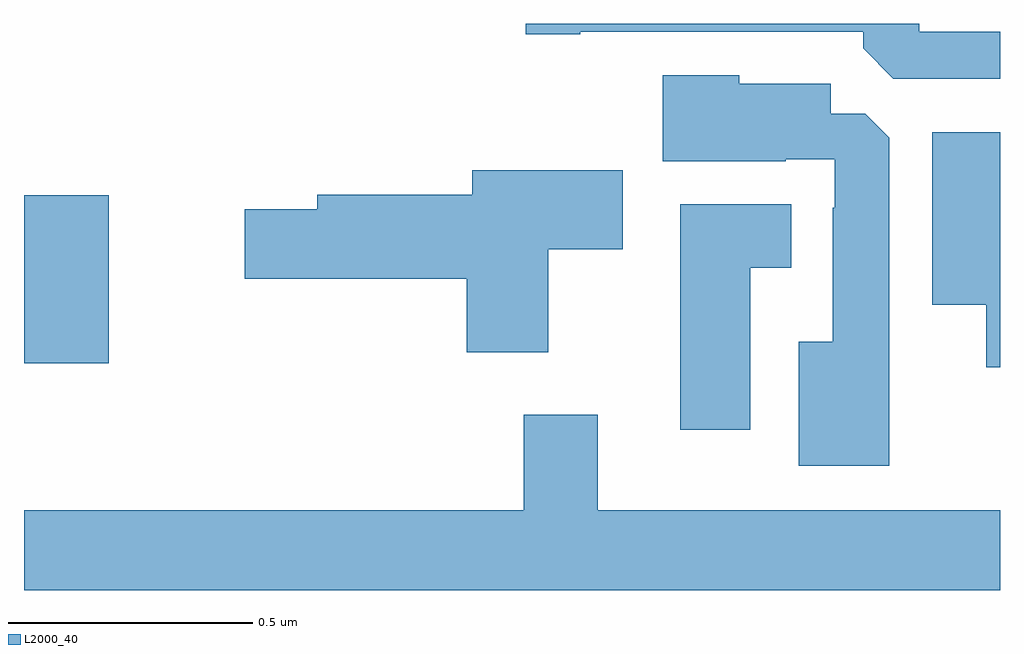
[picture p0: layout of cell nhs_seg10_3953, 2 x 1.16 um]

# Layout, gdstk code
import gdstk
lib = gdstk.Library(unit=1e-6, precision=1e-09)
def R(c, l, rs):  # rectangles x0, y0, x1, y1
    for r in rs: c.add(gdstk.rectangle(r[:2], r[2:], *l))
def P(c, l, *ps):  # polygons
    for p in ps: c.add(gdstk.Polygon(p, *l))
L2000_40 = (2000, 40)

nhs_seg10_3953 = lib.new_cell('nhs_seg10_3953')
R(nhs_seg10_3953, L2000_40, [(160,1276.805,160.174,1277.149)])
P(nhs_seg10_3953, L2000_40, [(162,1277.484),(161.835,1277.484),(161.835,1277.5),(161.028,1277.5),(161.028,1277.479),(161.14,1277.479),(161.14,1277.484),(161.72,1277.484),(161.72,1277.45),(161.781,1277.388),(162,1277.388)],
  [(161.773,1277.267),(161.724,1277.316),(161.653,1277.316),(161.653,1277.377),(161.466,1277.377),(161.466,1277.395),(161.309,1277.395),(161.309,1277.219),(161.561,1277.219),(161.561,1277.223),(161.661,1277.223),(161.661,1277.123),(161.657,1277.123),(161.657,1276.849),(161.588,1276.849),(161.588,1276.595),(161.773,1276.595)],
  [(162,1277.278),(161.861,1277.278),(161.861,1276.925),(161.972,1276.925),(161.972,1276.797),(162,1276.797)],
  [(161.074,1277.038),(161.227,1277.038),(161.227,1277.2),(160.919,1277.2),(160.919,1277.15),(160.601,1277.15),(160.601,1277.12),(160.452,1277.12),(160.452,1276.978),(160.907,1276.978),(160.907,1276.827),(161.074,1276.827)],
  [(161.488,1277),(161.572,1277),(161.572,1277.131),(161.345,1277.131),(161.345,1276.668),(161.488,1276.668)],
  [(162,1276.504),(161.176,1276.504),(161.176,1276.699),(161.024,1276.699),(161.024,1276.504),(160,1276.504),(160,1276.34),(162,1276.34)])

lib.write_gds('nhs_seg10_3953.gds')
